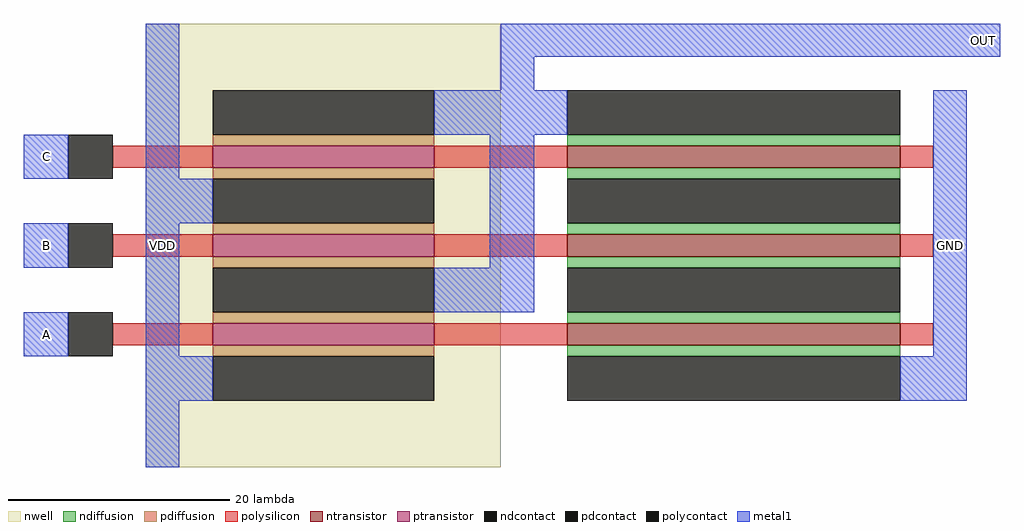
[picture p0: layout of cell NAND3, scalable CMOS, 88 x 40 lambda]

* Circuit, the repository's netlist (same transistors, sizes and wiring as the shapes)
* SPICE3 file created from NAND3.ext - technology: scmos

.option scale=0.09u

M1000 VDD B OUT w_2_n12# cmosp w=20 l=2
+  ad=220 pd=102 as=220 ps=102
M1001 a_40_1# A GND Gnd cmosn w=30 l=2
+  ad=180 pd=72 as=150 ps=70
M1002 OUT A VDD w_2_n12# cmosp w=20 l=2
+  ad=0 pd=0 as=0 ps=0
M1003 OUT C VDD w_2_n12# cmosp w=20 l=2
+  ad=0 pd=0 as=0 ps=0
M1004 OUT C a_40_9# Gnd cmosn w=30 l=2
+  ad=150 pd=70 as=180 ps=72
M1005 a_40_9# B a_40_1# Gnd cmosn w=30 l=2
+  ad=0 pd=0 as=0 ps=0

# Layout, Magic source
magic
tech scmos
<< nwell >>
rect 2 -12 34 28
<< ntransistor >>
rect 40 15 70 17
rect 40 7 70 9
rect 40 -1 70 1
<< ptransistor >>
rect 8 15 28 17
rect 8 7 28 9
rect 8 -1 28 1
<< ndiffusion >>
rect 40 17 70 18
rect 40 14 70 15
rect 40 9 70 10
rect 40 6 70 7
rect 40 1 70 2
rect 40 -2 70 -1
<< pdiffusion >>
rect 8 17 28 18
rect 8 14 28 15
rect 8 9 28 10
rect 8 6 28 7
rect 8 1 28 2
rect 8 -2 28 -1
<< ndcontact >>
rect 40 18 70 22
rect 40 10 70 14
rect 40 2 70 6
rect 40 -6 70 -2
<< pdcontact >>
rect 8 18 28 22
rect 8 10 28 14
rect 8 2 28 6
rect 8 -6 28 -2
<< polysilicon >>
rect -1 15 8 17
rect 28 15 40 17
rect 70 15 73 17
rect -1 7 8 9
rect 28 7 40 9
rect 70 7 73 9
rect -1 -1 8 1
rect 28 -1 40 1
rect 70 -1 73 1
<< polycontact >>
rect -5 14 -1 18
rect -5 6 -1 10
rect -5 -2 -1 2
<< metal1 >>
rect -9 14 -5 18
rect 2 14 5 28
rect 34 25 79 28
rect 34 22 37 25
rect 28 18 40 22
rect 2 10 8 14
rect -9 6 -5 10
rect -9 -2 -5 2
rect 2 -2 5 10
rect 33 6 37 18
rect 28 2 37 6
rect 73 -2 76 22
rect 2 -6 8 -2
rect 70 -6 76 -2
rect 2 -12 5 -6
<< labels >>
rlabel metal1 73 -6 76 22 7 GND
rlabel metal1 2 -12 5 28 3 VDD
rlabel metal1 -9 -2 -5 2 3 A
rlabel metal1 -9 6 -5 10 3 B
rlabel metal1 -9 14 -5 18 3 C
rlabel metal1 76 25 79 28 6 OUT
<< end >>
